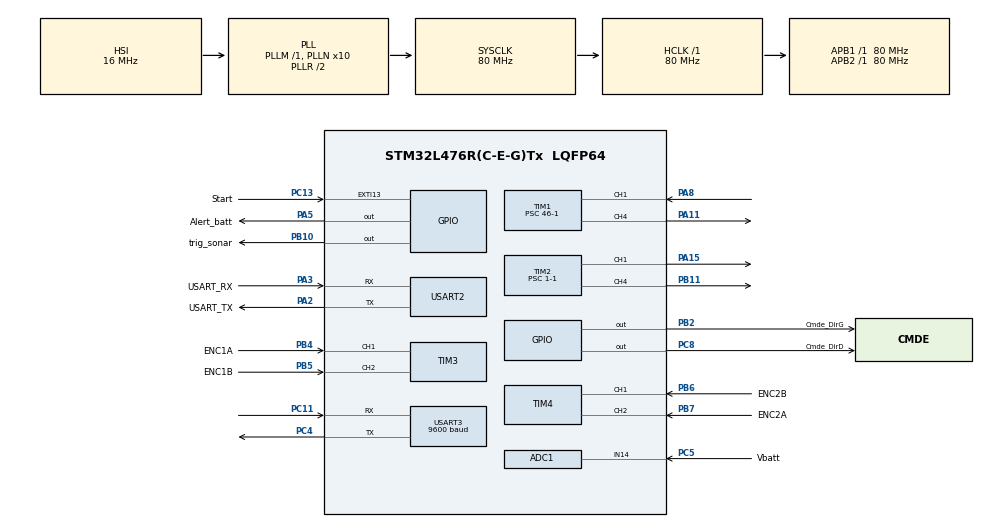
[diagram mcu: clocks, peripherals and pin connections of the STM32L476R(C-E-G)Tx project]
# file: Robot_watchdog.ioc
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ADC1.AWD1HighThreshold=4095
ADC1.AWD1ITMode=ENABLE
ADC1.AWD1LowThreshold=3723
ADC1.Channel-0\#ChannelRegularConversion=ADC_CHANNEL_14
ADC1.ClockPrescaler=ADC_CLOCK_ASYNC_DIV1
ADC1.EnableAnalogWatchDog1=true
ADC1.NbrOfConversionFlag=1
ADC1.OffsetNumber-0\#ChannelRegularConversion=ADC_OFFSET_NONE
ADC1.Rank-0\#ChannelRegularConversion=1
ADC1.SamplingTime-0\#ChannelRegularConversion=ADC_SAMPLETIME_640CYCLES_5
ADC1.WatchdogChannel=ADC_CHANNEL_14
ADC1.master=1
Mcu.Family=STM32L4
Mcu.Name=STM32L476R(C-E-G)Tx
Mcu.Package=LQFP64
NVIC.ADC1_2_IRQn=true\:0\:0\:false\:false\:true\:true\:true\:true
NVIC.EXTI15_10_IRQn=true\:0\:0\:false\:false\:true\:true\:true\:true
NVIC.PriorityGroup=NVIC_PRIORITYGROUP_4
NVIC.TIM1_CC_IRQn=true\:0\:0\:false\:false\:true\:true\:true\:true
NVIC.TIM6_DAC_IRQn=true\:0\:0\:false\:false\:true\:true\:true\:true
NVIC.TIM7_IRQn=true\:0\:0\:false\:false\:true\:true\:true\:true
NVIC.USART3_IRQn=true\:0\:0\:false\:false\:true\:true\:true\:true
PA11.Signal=S_TIM1_CH4
PA13\ (JTMS-SWDIO).GPIO_Label=TMS
PA13\ (JTMS-SWDIO).Mode=Serial_Wire
PA13\ (JTMS-SWDIO).Signal=SYS_JTMS-SWDIO
PA14\ (JTCK-SWCLK).GPIO_Label=TCK
PA14\ (JTCK-SWCLK).Mode=Serial_Wire
PA14\ (JTCK-SWCLK).Signal=SYS_JTCK-SWCLK
PA15\ (JTDI).Signal=S_TIM2_CH1
PA2.GPIO_Label=USART_TX
PA2.GPIO_Mode=GPIO_MODE_AF_PP
PA2.GPIO_PuPd=GPIO_NOPULL
PA2.GPIO_Speed=GPIO_SPEED_FREQ_VERY_HIGH
PA2.Mode=Asynchronous
PA2.Signal=USART2_TX
PA3.GPIO_Label=USART_RX
PA3.GPIO_Mode=GPIO_MODE_AF_PP
PA3.GPIO_PuPd=GPIO_NOPULL
PA3.GPIO_Speed=GPIO_SPEED_FREQ_VERY_HIGH
PA3.Mode=Asynchronous
PA3.Signal=USART2_RX
PA5.GPIO_Label=Alert_batt
PA5.Signal=GPIO_Output
PA8.Signal=S_TIM1_CH1
PB10.GPIO_Label=trig_sonar
PB10.Signal=GPIO_Output
PB11.Signal=S_TIM2_CH4
PB2.GPIO_Label=Cmde_DirG
PB2.Signal=GPIO_Output
PB3\ (JTDO-TRACESWO).GPIO_Label=SWO
PB3\ (JTDO-TRACESWO).Signal=SYS_JTDO-SWO
PB4\ (NJTRST).GPIO_Label=ENC1A
PB4\ (NJTRST).Signal=S_TIM3_CH1
PB5.GPIO_Label=ENC1B
PB5.Signal=S_TIM3_CH2
PB6.GPIO_Label=ENC2B
PB6.Signal=S_TIM4_CH1
PB7.GPIO_Label=ENC2A
PB7.Signal=S_TIM4_CH2
PC11.Mode=Asynchronous
PC11.Signal=USART3_RX
PC13.GPIO_Label=Start
PC13.Signal=GPXTI13
PC14-OSC32_IN\ (PC14).Mode=LSE-External-Oscillator
PC14-OSC32_IN\ (PC14).Signal=RCC_OSC32_IN
PC15-OSC32_OUT\ (PC15).Mode=LSE-External-Oscillator
PC15-OSC32_OUT\ (PC15).Signal=RCC_OSC32_OUT
PC4.Mode=Asynchronous
PC4.Signal=USART3_TX
PC5.GPIO_Label=Vbatt
PC5.Signal=ADCx_IN14
PC8.GPIO_Label=Cmde_DirD
PC8.Signal=GPIO_Output
PH0-OSC_IN\ (PH0).Signal=RCC_OSC_IN
PH1-OSC_OUT\ (PH1).Signal=RCC_OSC_OUT
ProjectManager.HeapSize=0x200
ProjectManager.StackSize=0x400
ProjectManager.TargetToolchain=STM32CubeIDE
RCC.ADCFreq_Value=64000000
RCC.AHBFreq_Value=80000000
RCC.APB1Freq_Value=80000000
RCC.APB1TimFreq_Value=80000000
RCC.APB2Freq_Value=80000000
RCC.APB2TimFreq_Value=80000000
RCC.CortexFreq_Value=80000000
RCC.HCLKFreq_Value=80000000
RCC.HSE_VALUE=8000000
RCC.HSI_VALUE=16000000
RCC.MSI_VALUE=4000000
RCC.PLLN=10
RCC.PLLSourceVirtual=RCC_PLLSOURCE_HSI
RCC.PREFETCH_ENABLE=1
RCC.SYSCLKFreq_VALUE=80000000
RCC.SYSCLKSource=RCC_SYSCLKSOURCE_PLLCLK
RCC.USBFreq_Value=64000000
RCC.VCOOutputFreq_Value=160000000
SH.ADCx_IN14.0=ADC1_IN14,IN14-Single-Ended
SH.S_TIM1_CH1.0=TIM1_CH1,PWM_Input_1
SH.S_TIM1_CH4.0=TIM1_CH4,PWM Generation4 CH4
SH.S_TIM2_CH1.0=TIM2_CH1,PWM Generation1 CH1
SH.S_TIM2_CH4.0=TIM2_CH4,PWM Generation4 CH4
SH.S_TIM3_CH1.0=TIM3_CH1,Encoder_Interface
SH.S_TIM3_CH2.0=TIM3_CH2,Encoder_Interface
SH.S_TIM4_CH1.0=TIM4_CH1,Encoder_Interface
SH.S_TIM4_CH2.0=TIM4_CH2,Encoder_Interface
TIM1.Channel-PWM\ Generation4\ CH4=TIM_CHANNEL_4
TIM1.Prescaler=46-1
TIM2.Channel-PWM\ Generation1\ CH1=TIM_CHANNEL_1
TIM2.Channel-PWM\ Generation4\ CH4=TIM_CHANNEL_4
TIM2.Period=80000
TIM2.Prescaler=1-1
TIM3.EncoderMode=TIM_ENCODERMODE_TI12
TIM3.IC1Filter=8
TIM3.IC2Filter=8
TIM4.EncoderMode=TIM_ENCODERMODE_TI12
TIM4.IC1Filter=8
TIM4.IC1Polarity=TIM_ICPOLARITY_FALLING
TIM4.IC2Filter=8
TIM4.IC2Polarity=TIM_ICPOLARITY_RISING
TIM6.Period=65520
TIM6.Prescaler=1221-1
TIM7.Period=5000-1
TIM7.Prescaler=8000-1
USART2.VirtualMode-Asynchronous=VM_ASYNC
USART3.BaudRate=9600
USART3.VirtualMode-Asynchronous=VM_ASYNC
VP_TIM1_VS_ClockSourceINT.Mode=Internal
VP_TIM2_VS_ClockSourceINT.Mode=Internal
VP_TIM6_VS_ClockSourceINT.Mode=Enable_Timer
VP_TIM7_VS_ClockSourceINT.Mode=Enable_Timer
board=NUCLEO-L476RG

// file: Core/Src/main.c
/* USER CODE BEGIN Header */
/**
  ******************************************************************************
  * @file           : main.c
  * @brief          : Main program body
  ******************************************************************************
  * @attention
  *
  * Copyright (c) 2024 STMicroelectronics.
  * All rights reserved.
  *
  * This software is licensed under terms that can be found in the LICENSE file
  * in the root directory of this software component.
  * If no LICENSE file comes with this software, it is provided AS-IS.
  *
  ******************************************************************************
  */
/* USER CODE END Header */
#include "main.h"

/* USER CODE BEGIN Includes */
#include <stdlib.h>
#include <stdio.h>
#include <stdbool.h>
#include <string.h>
/* USER CODE END Includes */

/* USER CODE BEGIN PTD */
typedef enum {
    STATE_IDLE,
    STATE_FORWARD,
    STATE_TURN_LEFT,
    STATE_TURN_RIGHT,
    STATE_ROTATE_SONAR,
    STATE_EVITE_MUR
} State_t;
/* USER CODE END PTD */

ADC_HandleTypeDef hadc1;

TIM_HandleTypeDef htim1;
TIM_HandleTypeDef htim2;
TIM_HandleTypeDef htim3;
TIM_HandleTypeDef htim4;
TIM_HandleTypeDef htim6;
TIM_HandleTypeDef htim7;

UART_HandleTypeDef huart2;
UART_HandleTypeDef huart3;

/* USER CODE BEGIN PV */

State_t currentState = STATE_IDLE;

void check_button_state(void);

void avancer_20(void);
void turn_left(void);
void turn_left_auto(void);
void turn_right(void);
void turn_right_auto(void);
void stop_robot(void);
void recule_robot(void);
void commande();

int get_sonar_distance(void);
void tourner_sonar(int angle);
void rotation_sonar(void);
void rotation_sonar_recursive(int angle);

void activer_sonar(void);

volatile char buffer[2];
volatile int com_avancer = 0;
volatile int com_gauche = 0;
volatile int com_droite = 0;
volatile int com_arriere = 0;
volatile int com_arret = 0;

volatile uint32_t go = 0;
volatile uint8_t debounce_flag = 0;
volatile uint32_t debounce_time = 0;
const uint32_t DEBOUNCE_DELAY = 100; // 100 ms debounce delay

//volatile int T_batt = 0;
volatile int mesure_batt = 0;
int Vbatt = 0;
int vbatt = 0;

float D,T;
volatile int distance;
volatile int angle;
volatile int closest_distance = 5050;
volatile int closest_angle = 0;
int closest_angle_degre;

#define NUM_SAMPLES 10
int sonar_readings[NUM_SAMPLES]; // Tableau pour stocker les lectures du sonar
int sonar_index = 0; // Indice pour le tableau des lectures
int sonar_sum = 0; // Somme des lectures pour la moyenne
int sonar_count = 0; // Nombre de lectures effectuées

volatile uint32_t rotation_sonar_en_cours = 0;
volatile uint32_t trig_sonar = 0;
volatile uint32_t tourne_droite = 0;
volatile uint32_t tourne_gauche = 0;
volatile uint32_t average_distance = 0;

char msg[100];

volatile uint32_t compteur_right;
volatile uint32_t compteur_left;
volatile uint32_t incr, lim;

/* USER CODE END PV */

void SystemClock_Config(void);
static void MX_GPIO_Init(void);
static void MX_USART2_UART_Init(void);
static void MX_ADC1_Init(void);
static void MX_TIM6_Init(void);
static void MX_TIM2_Init(void);
static void MX_USART3_UART_Init(void);
static void MX_TIM1_Init(void);
static void MX_TIM7_Init(void);
static void MX_TIM3_Init(void);
static void MX_TIM4_Init(void);

/* USER CODE BEGIN 0 */
#define SEUIL_3V 3723 //la plus grande valeur de l'adc étant 4096 = 2^12 pour 3.3V

/* USER CODE END 0 */

int main(void)
{

  /* MCU Configuration--------------------------------------------------------*/

  /* Reset of all peripherals, Initializes the Flash interface and the Systick. */
  HAL_Init();

  /* Configure the system clock */
  SystemClock_Config();

  /* Initialize all configured peripherals */
  MX_GPIO_Init();
  MX_USART2_UART_Init();
  MX_ADC1_Init();
  MX_TIM6_Init();
  MX_TIM2_Init();
  MX_USART3_UART_Init();
  MX_TIM1_Init();
  MX_TIM7_Init();
  MX_TIM3_Init();
  MX_TIM4_Init();
  /* USER CODE BEGIN 2 */
  HAL_TIM_Base_Start(&htim2);
  HAL_TIM_PWM_Start(&htim2, TIM_CHANNEL_1);  // démarrage du moteur 1
  HAL_TIM_PWM_Start(&htim2, TIM_CHANNEL_4);  // démarrage du moteur 2
  __HAL_TIM_SET_COMPARE(&htim2, TIM_CHANNEL_1, 0);
  __HAL_TIM_SET_COMPARE(&htim2, TIM_CHANNEL_4, 0);
  HAL_TIM_Base_Start_IT(&htim6);
  HAL_UART_Receive_IT(&huart3, (uint8_t *)buffer, 2);

  //distance
  HAL_TIM_IC_Start_IT(&htim1, TIM_CHANNEL_2);

  //servomoteur
  HAL_TIM_PWM_Start(&htim1, TIM_CHANNEL_4);

  HAL_TIM_Base_Start_IT(&htim7);

  go = 0;
  HAL_GPIO_WritePin(GPIOA, Alert_batt_Pin, RESET);

  HAL_TIM_Encoder_Start_IT(&htim4, TIM_CHANNEL_ALL);
  HAL_TIM_Encoder_Start_IT(&htim3, TIM_CHANNEL_ALL);

  /* USER CODE END 2 */

  /* Infinite loop */
  /* USER CODE BEGIN WHILE */
  while (1)
  {

	if (!go) {
	     currentState = STATE_IDLE;
	     stop_robot();
	}

	while(go){

    	  HAL_ADC_Start(&hadc1);
    	  HAL_ADC_PollForConversion(&hadc1, HAL_MAX_DELAY);
    	  Vbatt = HAL_ADC_GetValue(&hadc1);
    	  vbatt = Vbatt * 3300/4095;

    	  if(Vbatt == 4095){
    		  sprintf(msg,"Tension de la batterie : au moins %d mV\r\n", vbatt);
    		  HAL_UART_Transmit(&huart2, (uint8_t*)msg, strlen(msg), HAL_MAX_DELAY);
    	  }
    	  else {
    		  sprintf(msg,"Tension de la batterie : %d mV\r\n", vbatt);
    		  HAL_UART_Transmit(&huart2, (uint8_t*)msg, strlen(msg), HAL_MAX_DELAY);
    	  }

	    switch (currentState)
	    {
	      case STATE_IDLE:
	        check_button_state();
	        tourner_sonar(2400);

	        distance = get_sonar_distance();
	        currentState = STATE_FORWARD;
	        break;

	      case STATE_FORWARD:

	    	    commande();

				distance = get_sonar_distance();
			    tourne_droite = 0;
			    tourne_gauche = 0;
				if (distance < 4040 && distance >1515)
				{
				  tourner_sonar(800);
				  currentState = STATE_EVITE_MUR;
				}
				else {
					currentState = STATE_FORWARD;
				}

	        break;

	      case STATE_EVITE_MUR:
	        stop_robot();
	        rotation_sonar();
	        currentState = STATE_ROTATE_SONAR;
	        break;

	      case STATE_TURN_LEFT:
	    	tourner_sonar(2400);
	        turn_left_auto();
	        currentState = STATE_FORWARD;
	        break;

	      case STATE_TURN_RIGHT:
	    	tourner_sonar(2400);
	        turn_right_auto();
	        currentState = STATE_FORWARD;
	        break;

	      case STATE_ROTATE_SONAR:
	        //rotation_sonar();
	        if (closest_angle > 2400 && rotation_sonar_en_cours == 0)
	        {
		      tourne_droite = 1;
	          currentState = STATE_TURN_RIGHT;
	        }
	        else if (closest_angle < 2400 && rotation_sonar_en_cours == 0)
	        {
	          //tourner_sonar(2400);
	          tourne_gauche = 1;
	          currentState = STATE_TURN_LEFT;
	        }
	        else if (closest_angle == 2400 && rotation_sonar_en_cours == 0)
	        {
	          //tourner_sonar(2400);
		      tourne_gauche = 1;
	          currentState = STATE_TURN_LEFT;
	        }
	        break;

	    }
	}

    /* USER CODE END WHILE */

    /* USER CODE BEGIN 3 */

    __HAL_TIM_SET_COMPARE(&htim2, TIM_CHANNEL_1, 0);
    __HAL_TIM_SET_COMPARE(&htim2, TIM_CHANNEL_4, 0);
  }
  /* USER CODE END 3 */
}

void SystemClock_Config(void)
{
  RCC_OscInitTypeDef RCC_OscInitStruct = {0};
  RCC_ClkInitTypeDef RCC_ClkInitStruct = {0};

  /** Configure the main internal regulator output voltage
  */
  if (HAL_PWREx_ControlVoltageScaling(PWR_REGULATOR_VOLTAGE_SCALE1) != HAL_OK)
  {
    Error_Handler();
  }

  /** Initializes the RCC Oscillators according to the specified parameters
  * in the RCC_OscInitTypeDef structure.
  */
  RCC_OscInitStruct.OscillatorType = RCC_OSCILLATORTYPE_HSI;
  RCC_OscInitStruct.HSIState = RCC_HSI_ON;
  RCC_OscInitStruct.HSICalibrationValue = RCC_HSICALIBRATION_DEFAULT;
  RCC_OscInitStruct.PLL.PLLState = RCC_PLL_ON;
  RCC_OscInitStruct.PLL.PLLSource = RCC_PLLSOURCE_HSI;
  RCC_OscInitStruct.PLL.PLLM = 1;
  RCC_OscInitStruct.PLL.PLLN = 10;
  RCC_OscInitStruct.PLL.PLLP = RCC_PLLP_DIV7;
  RCC_OscInitStruct.PLL.PLLQ = RCC_PLLQ_DIV2;
  RCC_OscInitStruct.PLL.PLLR = RCC_PLLR_DIV2;
  if (HAL_RCC_OscConfig(&RCC_OscInitStruct) != HAL_OK)
  {
    Error_Handler();
  }

  /** Initializes the CPU, AHB and APB buses clocks
  */
  RCC_ClkInitStruct.ClockType = RCC_CLOCKTYPE_HCLK|RCC_CLOCKTYPE_SYSCLK
                              |RCC_CLOCKTYPE_PCLK1|RCC_CLOCKTYPE_PCLK2;
  RCC_ClkInitStruct.SYSCLKSource = RCC_SYSCLKSOURCE_PLLCLK;
  RCC_ClkInitStruct.AHBCLKDivider = RCC_SYSCLK_DIV1;
  RCC_ClkInitStruct.APB1CLKDivider = RCC_HCLK_DIV1;
  RCC_ClkInitStruct.APB2CLKDivider = RCC_HCLK_DIV1;

  if (HAL_RCC_ClockConfig(&RCC_ClkInitStruct, FLASH_LATENCY_4) != HAL_OK)
  {
    Error_Handler();
  }
}

static void MX_ADC1_Init(void)
{

  ADC_MultiModeTypeDef multimode = {0};
  ADC_AnalogWDGConfTypeDef AnalogWDGConfig = {0};
  ADC_ChannelConfTypeDef sConfig = {0};

  /** Common config
  */
  hadc1.Instance = ADC1;
  hadc1.Init.ClockPrescaler = ADC_CLOCK_ASYNC_DIV1;
  hadc1.Init.Resolution = ADC_RESOLUTION_12B;
  hadc1.Init.DataAlign = ADC_DATAALIGN_RIGHT;
  hadc1.Init.ScanConvMode = ADC_SCAN_DISABLE;
  hadc1.Init.EOCSelection = ADC_EOC_SINGLE_CONV;
  hadc1.Init.LowPowerAutoWait = DISABLE;
  hadc1.Init.ContinuousConvMode = DISABLE;
  hadc1.Init.NbrOfConversion = 1;
  hadc1.Init.DiscontinuousConvMode = DISABLE;
  hadc1.Init.ExternalTrigConv = ADC_SOFTWARE_START;
  hadc1.Init.ExternalTrigConvEdge = ADC_EXTERNALTRIGCONVEDGE_NONE;
  hadc1.Init.DMAContinuousRequests = DISABLE;
  hadc1.Init.Overrun = ADC_OVR_DATA_PRESERVED;
  hadc1.Init.OversamplingMode = DISABLE;
  if (HAL_ADC_Init(&hadc1) != HAL_OK)
  {
    Error_Handler();
  }

  /** Configure the ADC multi-mode
  */
  multimode.Mode = ADC_MODE_INDEPENDENT;
  if (HAL_ADCEx_MultiModeConfigChannel(&hadc1, &multimode) != HAL_OK)
  {
    Error_Handler();
  }

  /** Configure Analog WatchDog 1
  */
  AnalogWDGConfig.WatchdogNumber = ADC_ANALOGWATCHDOG_1;
  AnalogWDGConfig.WatchdogMode = ADC_ANALOGWATCHDOG_SINGLE_REG;
  AnalogWDGConfig.Channel = ADC_CHANNEL_14;
  AnalogWDGConfig.ITMode = ENABLE;
  AnalogWDGConfig.HighThreshold = 4095;
  AnalogWDGConfig.LowThreshold = 3723;
  if (HAL_ADC_AnalogWDGConfig(&hadc1, &AnalogWDGConfig) != HAL_OK)
  {
    Error_Handler();
  }

  /** Configure Regular Channel
  */
  sConfig.Channel = ADC_CHANNEL_14;
  sConfig.Rank = ADC_REGULAR_RANK_1;
  sConfig.SamplingTime = ADC_SAMPLETIME_640CYCLES_5;
  sConfig.SingleDiff = ADC_SINGLE_ENDED;
  sConfig.OffsetNumber = ADC_OFFSET_NONE;
  sConfig.Offset = 0;
  if (HAL_ADC_ConfigChannel(&hadc1, &sConfig) != HAL_OK)
  {
    Error_Handler();
  }

}

static void MX_TIM1_Init(void)
{

  TIM_ClockConfigTypeDef sClockSourceConfig = {0};
  TIM_SlaveConfigTypeDef sSlaveConfig = {0};
  TIM_IC_InitTypeDef sConfigIC = {0};
  TIM_MasterConfigTypeDef sMasterConfig = {0};
  TIM_OC_InitTypeDef sConfigOC = {0};
  TIM_BreakDeadTimeConfigTypeDef sBreakDeadTimeConfig = {0};

  htim1.Instance = TIM1;
  htim1.Init.Prescaler = 46-1;
  htim1.Init.CounterMode = TIM_COUNTERMODE_UP;
  htim1.Init.Period = 65535;
  htim1.Init.ClockDivision = TIM_CLOCKDIVISION_DIV1;
  htim1.Init.RepetitionCounter = 0;
  htim1.Init.AutoReloadPreload = TIM_AUTORELOAD_PRELOAD_DISABLE;
  if (HAL_TIM_Base_Init(&htim1) != HAL_OK)
  {
    Error_Handler();
  }
  sClockSourceConfig.ClockSource = TIM_CLOCKSOURCE_INTERNAL;
  if (HAL_TIM_ConfigClockSource(&htim1, &sClockSourceConfig) != HAL_OK)
  {
    Error_Handler();
  }
  if (HAL_TIM_PWM_Init(&htim1) != HAL_OK)
  {
    Error_Handler();
  }
  if (HAL_TIM_IC_Init(&htim1) != HAL_OK)
  {
    Error_Handler();
  }
  sSlaveConfig.SlaveMode = TIM_SLAVEMODE_RESET;
  sSlaveConfig.InputTrigger = TIM_TS_TI1FP1;
  sSlaveConfig.TriggerPolarity = TIM_INPUTCHANNELPOLARITY_RISING;
  sSlaveConfig.TriggerPrescaler = TIM_ICPSC_DIV1;
  sSlaveConfig.TriggerFilter = 0;
  if (HAL_TIM_SlaveConfigSynchro(&htim1, &sSlaveConfig) != HAL_OK)
  {
    Error_Handler();
  }
  sConfigIC.ICPolarity = TIM_INPUTCHANNELPOLARITY_RISING;
  sConfigIC.ICSelection = TIM_ICSELECTION_DIRECTTI;
  sConfigIC.ICPrescaler = TIM_ICPSC_DIV1;
  sConfigIC.ICFilter = 0;
  if (HAL_TIM_IC_ConfigChannel(&htim1, &sConfigIC, TIM_CHANNEL_1) != HAL_OK)
  {
    Error_Handler();
  }
  sConfigIC.ICPolarity = TIM_INPUTCHANNELPOLARITY_FALLING;
  sConfigIC.ICSelection = TIM_ICSELECTION_INDIRECTTI;
  if (HAL_TIM_IC_ConfigChannel(&htim1, &sConfigIC, TIM_CHANNEL_2) != HAL_OK)
  {
    Error_Handler();
  }
  sMasterConfig.MasterOutputTrigger = TIM_TRGO_RESET;
  sMasterConfig.MasterOutputTrigger2 = TIM_TRGO2_RESET;
  sMasterConfig.MasterSlaveMode = TIM_MASTERSLAVEMODE_DISABLE;
  if (HAL_TIMEx_MasterConfigSynchronization(&htim1, &sMasterConfig) != HAL_OK)
  {
    Error_Handler();
  }
  sConfigOC.OCMode = TIM_OCMODE_PWM1;
  sConfigOC.Pulse = 0;
  sConfigOC.OCPolarity = TIM_OCPOLARITY_HIGH;
  sConfigOC.OCFastMode = TIM_OCFAST_DISABLE;
  sConfigOC.OCIdleState = TIM_OCIDLESTATE_RESET;
  sConfigOC.OCNIdleState = TIM_OCNIDLESTATE_RESET;
  if (HAL_TIM_PWM_ConfigChannel(&htim1, &sConfigOC, TIM_CHANNEL_4) != HAL_OK)
  {
    Error_Handler();
  }
  sBreakDeadTimeConfig.OffStateRunMode = TIM_OSSR_DISABLE;
  sBreakDeadTimeConfig.OffStateIDLEMode = TIM_OSSI_DISABLE;
  sBreakDeadTimeConfig.LockLevel = TIM_LOCKLEVEL_OFF;
  sBreakDeadTimeConfig.DeadTime = 0;
  sBreakDeadTimeConfig.BreakState = TIM_BREAK_DISABLE;
  sBreakDeadTimeConfig.BreakPolarity = TIM_BREAKPOLARITY_HIGH;
  sBreakDeadTimeConfig.BreakFilter = 0;
  sBreakDeadTimeConfig.Break2State = TIM_BREAK2_DISABLE;
  sBreakDeadTimeConfig.Break2Polarity = TIM_BREAK2POLARITY_HIGH;
  sBreakDeadTimeConfig.Break2Filter = 0;
  sBreakDeadTimeConfig.AutomaticOutput = TIM_AUTOMATICOUTPUT_DISABLE;
  if (HAL_TIMEx_ConfigBreakDeadTime(&htim1, &sBreakDeadTimeConfig) != HAL_OK)
  {
    Error_Handler();
  }
  HAL_TIM_MspPostInit(&htim1);

}

static void MX_TIM2_Init(void)
{

  TIM_ClockConfigTypeDef sClockSourceConfig = {0};
  TIM_MasterConfigTypeDef sMasterConfig = {0};
  TIM_OC_InitTypeDef sConfigOC = {0};

  htim2.Instance = TIM2;
  htim2.Init.Prescaler = 1-1;
  htim2.Init.CounterMode = TIM_COUNTERMODE_UP;
  htim2.Init.Period = 80000;
  htim2.Init.ClockDivision = TIM_CLOCKDIVISION_DIV1;
  htim2.Init.AutoReloadPreload = TIM_AUTORELOAD_PRELOAD_DISABLE;
  if (HAL_TIM_Base_Init(&htim2) != HAL_OK)
  {
    Error_Handler();
  }
  sClockSourceConfig.ClockSource = TIM_CLOCKSOURCE_INTERNAL;
  if (HAL_TIM_ConfigClockSource(&htim2, &sClockSourceConfig) != HAL_OK)
  {
    Error_Handler();
  }
  if (HAL_TIM_PWM_Init(&htim2) != HAL_OK)
  {
    Error_Handler();
  }
  sMasterConfig.MasterOutputTrigger = TIM_TRGO_RESET;
  sMasterConfig.MasterSlaveMode = TIM_MASTERSLAVEMODE_DISABLE;
  if (HAL_TIMEx_MasterConfigSynchronization(&htim2, &sMasterConfig) != HAL_OK)
  {
    Error_Handler();
  }
  sConfigOC.OCMode = TIM_OCMODE_PWM1;
  sConfigOC.Pulse = 0;
  sConfigOC.OCPolarity = TIM_OCPOLARITY_HIGH;
  sConfigOC.OCFastMode = TIM_OCFAST_DISABLE;
  if (HAL_TIM_PWM_ConfigChannel(&htim2, &sConfigOC, TIM_CHANNEL_1) != HAL_OK)
  {
    Error_Handler();
  }
  if (HAL_TIM_PWM_ConfigChannel(&htim2, &sConfigOC, TIM_CHANNEL_4) != HAL_OK)
  {
    Error_Handler();
  }
  HAL_TIM_MspPostInit(&htim2);

}

static void MX_TIM3_Init(void)
{

  TIM_Encoder_InitTypeDef sConfig = {0};
  TIM_MasterConfigTypeDef sMasterConfig = {0};

  htim3.Instance = TIM3;
  htim3.Init.Prescaler = 0;
  htim3.Init.CounterMode = TIM_COUNTERMODE_UP;
  htim3.Init.Period = 65535;
  htim3.Init.ClockDivision = TIM_CLOCKDIVISION_DIV1;
  htim3.Init.AutoReloadPreload = TIM_AUTORELOAD_PRELOAD_DISABLE;
  sConfig.EncoderMode = TIM_ENCODERMODE_TI12;
  sConfig.IC1Polarity = TIM_ICPOLARITY_RISING;
  sConfig.IC1Selection = TIM_ICSELECTION_DIRECTTI;
  sConfig.IC1Prescaler = TIM_ICPSC_DIV1;
  sConfig.IC1Filter = 8;
  sConfig.IC2Polarity = TIM_ICPOLARITY_RISING;
  sConfig.IC2Selection = TIM_ICSELECTION_DIRECTTI;
  sConfig.IC2Prescaler = TIM_ICPSC_DIV1;
  sConfig.IC2Filter = 8;
  if (HAL_TIM_Encoder_Init(&htim3, &sConfig) != HAL_OK)
  {
    Error_Handler();
  }
  sMasterConfig.MasterOutputTrigger = TIM_TRGO_RESET;
  sMasterConfig.MasterSlaveMode = TIM_MASTERSLAVEMODE_DISABLE;
  if (HAL_TIMEx_MasterConfigSynchronization(&htim3, &sMasterConfig) != HAL_OK)
  {
    Error_Handler();
  }

}

static void MX_TIM4_Init(void)
{

  TIM_Encoder_InitTypeDef sConfig = {0};
  TIM_MasterConfigTypeDef sMasterConfig = {0};

  htim4.Instance = TIM4;
  htim4.Init.Prescaler = 0;
  htim4.Init.CounterMode = TIM_COUNTERMODE_UP;
  htim4.Init.Period = 65535;
  htim4.Init.ClockDivision = TIM_CLOCKDIVISION_DIV1;
  htim4.Init.AutoReloadPreload = TIM_AUTORELOAD_PRELOAD_DISABLE;
  sConfig.EncoderMode = TIM_ENCODERMODE_TI12;
  sConfig.IC1Polarity = TIM_ICPOLARITY_FALLING;
  sConfig.IC1Selection = TIM_ICSELECTION_DIRECTTI;
  sConfig.IC1Prescaler = TIM_ICPSC_DIV1;
  sConfig.IC1Filter = 8;
  sConfig.IC2Polarity = TIM_ICPOLARITY_RISING;
  sConfig.IC2Selection = TIM_ICSELECTION_DIRECTTI;
  sConfig.IC2Prescaler = TIM_ICPSC_DIV1;
  sConfig.IC2Filter = 8;
  if (HAL_TIM_Encoder_Init(&htim4, &sConfig) != HAL_OK)
  {
    Error_Handler();
  }
  sMasterConfig.MasterOutputTrigger = TIM_TRGO_RESET;
  sMasterConfig.MasterSlaveMode = TIM_MASTERSLAVEMODE_DISABLE;
  if (HAL_TIMEx_MasterConfigSynchronization(&htim4, &sMasterConfig) != HAL_OK)
  {
    Error_Handler();
  }

}

static void MX_TIM6_Init(void)
{

  TIM_MasterConfigTypeDef sMasterConfig = {0};

  htim6.Instance = TIM6;
  htim6.Init.Prescaler = 1221-1;
  htim6.Init.CounterMode = TIM_COUNTERMODE_UP;
  htim6.Init.Period = 65520;
  htim6.Init.AutoReloadPreload = TIM_AUTORELOAD_PRELOAD_DISABLE;
  if (HAL_TIM_Base_Init(&htim6) != HAL_OK)
  {
    Error_Handler();
  }
  sMasterConfig.MasterOutputTrigger = TIM_TRGO_RESET;
  sMasterConfig.MasterSlaveMode = TIM_MASTERSLAVEMODE_DISABLE;
  if (HAL_TIMEx_MasterConfigSynchronization(&htim6, &sMasterConfig) != HAL_OK)
  {
    Error_Handler();
  }

}

static void MX_TIM7_Init(void)
{

  TIM_MasterConfigTypeDef sMasterConfig = {0};

  htim7.Instance = TIM7;
  htim7.Init.Prescaler = 8000-1;
  htim7.Init.CounterMode = TIM_COUNTERMODE_UP;
  htim7.Init.Period = 5000-1;
  htim7.Init.AutoReloadPreload = TIM_AUTORELOAD_PRELOAD_DISABLE;
  if (HAL_TIM_Base_Init(&htim7) != HAL_OK)
  {
    Error_Handler();
  }
  sMasterConfig.MasterOutputTrigger = TIM_TRGO_RESET;
  sMasterConfig.MasterSlaveMode = TIM_MASTERSLAVEMODE_DISABLE;
  if (HAL_TIMEx_MasterConfigSynchronization(&htim7, &sMasterConfig) != HAL_OK)
  {
    Error_Handler();
  }

}

static void MX_USART2_UART_Init(void)
{

  huart2.Instance = USART2;
  huart2.Init.BaudRate = 115200;
  huart2.Init.WordLength = UART_WORDLENGTH_8B;
  huart2.Init.StopBits = UART_STOPBITS_1;
  huart2.Init.Parity = UART_PARITY_NONE;
  huart2.Init.Mode = UART_MODE_TX_RX;
  huart2.Init.HwFlowCtl = UART_HWCONTROL_NONE;
  huart2.Init.OverSampling = UART_OVERSAMPLING_16;
  huart2.Init.OneBitSampling = UART_ONE_BIT_SAMPLE_DISABLE;
  huart2.AdvancedInit.AdvFeatureInit = UART_ADVFEATURE_NO_INIT;
  if (HAL_UART_Init(&huart2) != HAL_OK)
  {
    Error_Handler();
  }

}

static void MX_USART3_UART_Init(void)
{

  huart3.Instance = USART3;
  huart3.Init.BaudRate = 9600;
  huart3.Init.WordLength = UART_WORDLENGTH_8B;
  huart3.Init.StopBits = UART_STOPBITS_1;
  huart3.Init.Parity = UART_PARITY_NONE;
  huart3.Init.Mode = UART_MODE_TX_RX;
  huart3.Init.HwFlowCtl = UART_HWCONTROL_NONE;
  huart3.Init.OverSampling = UART_OVERSAMPLING_16;
  huart3.Init.OneBitSampling = UART_ONE_BIT_SAMPLE_DISABLE;
  huart3.AdvancedInit.AdvFeatureInit = UART_ADVFEATURE_NO_INIT;
  if (HAL_UART_Init(&huart3) != HAL_OK)
  {
    Error_Handler();
  }

}

static void MX_GPIO_Init(void)
{
  GPIO_InitTypeDef GPIO_InitStruct = {0};

  /* GPIO Ports Clock Enable */
  __HAL_RCC_GPIOC_CLK_ENABLE();
  __HAL_RCC_GPIOH_CLK_ENABLE();
  __HAL_RCC_GPIOA_CLK_ENABLE();
  __HAL_RCC_GPIOB_CLK_ENABLE();

  /*Configure GPIO pin Output Level */
  HAL_GPIO_WritePin(Alert_batt_GPIO_Port, Alert_batt_Pin, GPIO_PIN_RESET);

  /*Configure GPIO pin Output Level */
  HAL_GPIO_WritePin(GPIOB, Cmde_DirG_Pin|trig_sonar_Pin, GPIO_PIN_RESET);

  /*Configure GPIO pin Output Level */
  HAL_GPIO_WritePin(Cmde_DirD_GPIO_Port, Cmde_DirD_Pin, GPIO_PIN_RESET);

  /*Configure GPIO pin : Start_Pin */
  GPIO_InitStruct.Pin = Start_Pin;
  GPIO_InitStruct.Mode = GPIO_MODE_IT_RISING;
  GPIO_InitStruct.Pull = GPIO_NOPULL;
  HAL_GPIO_Init(Start_GPIO_Port, &GPIO_InitStruct);

  /*Configure GPIO pin : Alert_batt_Pin */
  GPIO_InitStruct.Pin = Alert_batt_Pin;
  GPIO_InitStruct.Mode = GPIO_MODE_OUTPUT_PP;
  GPIO_InitStruct.Pull = GPIO_NOPULL;
  GPIO_InitStruct.Speed = GPIO_SPEED_FREQ_LOW;
  HAL_GPIO_Init(Alert_batt_GPIO_Port, &GPIO_InitStruct);

  /*Configure GPIO pins : Cmde_DirG_Pin trig_sonar_Pin */
  GPIO_InitStruct.Pin = Cmde_DirG_Pin|trig_sonar_Pin;
  GPIO_InitStruct.Mode = GPIO_MODE_OUTPUT_PP;
  GPIO_InitStruct.Pull = GPIO_NOPULL;
  GPIO_InitStruct.Speed = GPIO_SPEED_FREQ_LOW;
  HAL_GPIO_Init(GPIOB, &GPIO_InitStruct);

  /*Configure GPIO pin : Cmde_DirD_Pin */
  GPIO_InitStruct.Pin = Cmde_DirD_Pin;
  GPIO_InitStruct.Mode = GPIO_MODE_OUTPUT_PP;
  GPIO_InitStruct.Pull = GPIO_NOPULL;
  GPIO_InitStruct.Speed = GPIO_SPEED_FREQ_LOW;
  HAL_GPIO_Init(Cmde_DirD_GPIO_Port, &GPIO_InitStruct);

  /* EXTI interrupt init*/
  HAL_NVIC_SetPriority(EXTI15_10_IRQn, 0, 0);
  HAL_NVIC_EnableIRQ(EXTI15_10_IRQn);

}

/* USER CODE BEGIN 4 */

void check_button_state()
{
    if (debounce_flag == 1 && (HAL_GetTick() - debounce_time) > DEBOUNCE_DELAY)
    {
        debounce_flag = 0;

    }
}

void avancer_20(void)
{
    HAL_GPIO_WritePin(GPIOC, Cmde_DirD_Pin, GPIO_PIN_SET);  // réglage de la direction du moteur 1
    HAL_GPIO_WritePin(GPIOB, Cmde_DirG_Pin, GPIO_PIN_SET);  // réglage de la direction du moteur 2
    __HAL_TIM_SET_COMPARE(&htim2, TIM_CHANNEL_1, 45765);  // réglage du rapport cyclique
    __HAL_TIM_SET_COMPARE(&htim2, TIM_CHANNEL_4, 45765);  // réglage du rapport cyclique

}

void turn_left(void)
{
    HAL_GPIO_WritePin(GPIOC, Cmde_DirD_Pin, GPIO_PIN_SET);
    HAL_GPIO_WritePin(GPIOB, Cmde_DirG_Pin, GPIO_PIN_RESET);
    __HAL_TIM_SET_COMPARE(&htim2, TIM_CHANNEL_1, 30000);
    __HAL_TIM_SET_COMPARE(&htim2, TIM_CHANNEL_4, 30000);

}

void turn_right(void)
{
    HAL_GPIO_WritePin(GPIOC, Cmde_DirD_Pin, GPIO_PIN_RESET);
    HAL_GPIO_WritePin(GPIOB, Cmde_DirG_Pin, GPIO_PIN_SET);
    __HAL_TIM_SET_COMPARE(&htim2, TIM_CHANNEL_1, 30000);
    __HAL_TIM_SET_COMPARE(&htim2, TIM_CHANNEL_4, 30000);

}

void stop_robot(void)
{
    __HAL_TIM_SET_COMPARE(&htim2, TIM_CHANNEL_1, 0);
    __HAL_TIM_SET_COMPARE(&htim2, TIM_CHANNEL_4, 0);
}

void recule_robot(void)
{
    HAL_GPIO_WritePin(GPIOC, Cmde_DirD_Pin, GPIO_PIN_RESET);
    HAL_GPIO_WritePin(GPIOB, Cmde_DirG_Pin, GPIO_PIN_RESET);
    __HAL_TIM_SET_COMPARE(&htim2, TIM_CHANNEL_1, 45765);
    __HAL_TIM_SET_COMPARE(&htim2, TIM_CHANNEL_4, 45765);
}

void HAL_UART_RxCpltCallback(UART_HandleTypeDef *huart)
{
  UNUSED(huart);

  if (go){
	  if (buffer[0] == 'F') {
		com_avancer = 1;
	  }
	  else if (buffer[0] == 'R') {
		com_droite = 1;
	  }
	  else if (buffer[0] == 'L') {
		com_gauche = 1;
	  }
	  else if (buffer[0] == 'B') {
		com_arriere = 1;
	  }
	  else if (buffer[0] == 'V') {
		com_arret = 1;
	  }
  }

  HAL_UART_Receive_IT(&huart3, (uint8_t *)buffer, 2);

}

void commande(void){
	  if (com_avancer == 1) {
		avancer_20();
		com_avancer = 0;
	  }

	  if (com_gauche == 1) {
		turn_left();
		com_gauche = 0;
	  }

	  if (com_droite == 1) {
		turn_right();
		com_droite = 0;
	  }

	  if (com_arriere == 1){
		  recule_robot();
		  com_arriere = 0;
	  }

	  if (com_arret == 1){
		  stop_robot();
		  com_arret = 0;
	  }

}

void HAL_ADC_ConvCpltCallback(ADC_HandleTypeDef *hadc)
{
  UNUSED(hadc);
  mesure_batt = 1;

}

//BATTERIE
void HAL_ADC_LevelOutOfWindowCallback(ADC_HandleTypeDef *hadc)
{

	if (hadc->Instance == ADC1){
		HAL_GPIO_WritePin(GPIOA, Alert_batt_Pin, GPIO_PIN_SET);
	}

}

void HAL_TIM_PeriodElapsedCallback(TIM_HandleTypeDef *htim)
{
  UNUSED(htim);

  if (htim->Instance == TIM7)
  {
	    if (rotation_sonar_en_cours == 1)
	    {

                // Calculer la moyenne des 10 mesures prises à cet angle
                average_distance = sonar_sum / NUM_SAMPLES;

                // Stocker ou traiter la moyenne ici selon les besoins
                if (average_distance <= closest_distance)
                {
                    closest_distance = average_distance;
                    closest_angle = angle;
                }

                // Réinitialiser pour le prochain angle
                sonar_sum = 0;
                sonar_count = 0;

                // Incrémenter l'angle après avoir pris 10 mesures
                angle += 50;

                // Mettre à jour l'angle du servomoteur
                if (angle <= 4000)
                {
                    __HAL_TIM_SET_COMPARE(&htim1, TIM_CHANNEL_4, angle);
                }
                else
                {
                    rotation_sonar_en_cours = 0; // Arrêter la rotation à la fin du sweep
                }
          }

		  if (trig_sonar == 1)
		  {
			  // Déclencher le sonar
			  activer_sonar();

		  }
     }

  if (htim->Instance == TIM6)
    {
	  HAL_ADC_Start_IT(&hadc1);

    }

}

void HAL_GPIO_EXTI_Callback(uint16_t GPIO_Pin)
{
  if(GPIO_Pin == Start_Pin && debounce_flag == 0)
  {
      debounce_flag = 1;
      debounce_time = HAL_GetTick();
  }

  if (GPIO_Pin == Start_Pin)
  {
      if (HAL_GPIO_ReadPin(Start_GPIO_Port, Start_Pin) == GPIO_PIN_SET)
      {
          go = !go; // Basculer la variable go entre 0 et 1

      }
  }
}

//SONAR
//mesure distance par sonar
void HAL_TIM_IC_CaptureCallback(TIM_HandleTypeDef *htim)
{
	if (htim ->Channel ==HAL_TIM_ACTIVE_CHANNEL_2 && trig_sonar == 1)
	{
		distance = HAL_TIM_ReadCapturedValue(&htim1, TIM_CHANNEL_2);

        if (rotation_sonar_en_cours == 1 && sonar_count < NUM_SAMPLES)
        {
            sonar_sum += distance;
            sonar_count++;
        }

	}

}

void activer_sonar()
{
	HAL_GPIO_WritePin(GPIOB, trig_sonar_Pin, GPIO_PIN_SET);
}

// Fonction pour mesurer la distance
int get_sonar_distance(void)
{
    activer_sonar();
    trig_sonar = 1;
    return distance;
}

void tourner_sonar(int angle)
{
	__HAL_TIM_SET_COMPARE(&htim1,TIM_CHANNEL_4, angle);
}

void rotation_sonar()
{
      sonar_index = 0;
	  sonar_sum = 0;
	  sonar_count = 0;
	  memset(sonar_readings, 0, sizeof(sonar_readings));
	  rotation_sonar_en_cours = 1;
	    angle = 800; // Start angle from the beginning
	    closest_distance = 5050; // Reset closest distance
	    __HAL_TIM_SET_COMPARE(&htim1, TIM_CHANNEL_4, angle); // Ensure sonar starts moving

}

void turn_left_auto()
{
    closest_angle_degre = (90*closest_angle)/2400;

    incr = 10292*(closest_angle_degre)/1800;

	compteur_right = TIM3->CNT;
	lim = incr + compteur_right;
	if(lim < 65535){
		while(TIM3->CNT < lim){
			turn_left();
			compteur_right = TIM3->CNT;
			compteur_left = TIM4->CNT;
		}
	}
	else{
		lim = lim - 65535;
		while(TIM3->CNT > compteur_right || TIM3->CNT < lim){
			turn_left();
			compteur_right = TIM3->CNT;
			compteur_left = TIM4->CNT;
		}
	}

    // Arrêter les moteurs
    stop_robot();
}
void turn_right_auto()
{

	//1800° -> 10292

    closest_angle_degre = (90*closest_angle)/2400;

    incr = 10292*(closest_angle_degre-90)/1800;

	compteur_left = TIM4->CNT;
	lim = incr + compteur_left;

	if(lim < 65535){
		while(TIM4->CNT < lim){
			turn_right();
			compteur_left = TIM4->CNT;
			compteur_right = TIM3->CNT;
		}
	}
	else{
		lim = lim - 65535;
		while(TIM4->CNT > compteur_left || TIM4->CNT < lim){
			turn_right();
			compteur_left = TIM4->CNT;
			compteur_right = TIM3->CNT;
		}
	}

    // Arrêter les moteurs
    stop_robot();
}

/* USER CODE END 4 */

void Error_Handler(void)
{
  __disable_irq();
  while (1)
  {
  }
}
